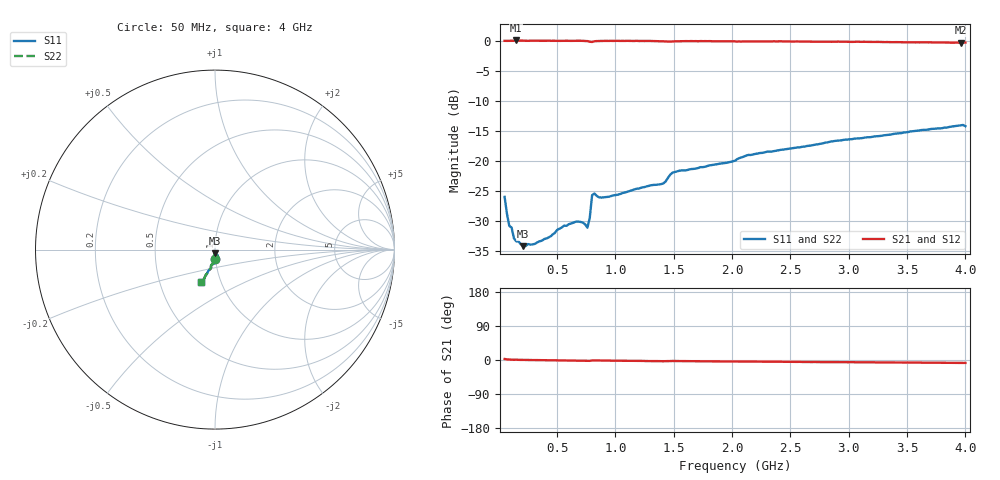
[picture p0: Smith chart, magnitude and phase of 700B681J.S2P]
!  American Technical Ceramics  Date:  3/13/98
!  One Norden Lane
!  Huntington Station,  NY.  11746-2102
!  Tel:  (516) 547-5700  Fax:  (516) 547-5748
!  Part Number  700B681J
!  Description: Porcelain, High Q, Low ESR
!  Application: Bypass, Coupling, Timing, Feedback
!  Tuning, Impedance Match, Blocking
# GHZ S DB R 50
! Freq  |S11|  S11 Ph  |S21|  S21 Ph  |S12|  S12 Ph  |S22|  S22 Ph
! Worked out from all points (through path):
!   201 points, 50 MHz to 4 GHz, reference 50 ohm
!   highest |S21| = 0.05 dB at 150 MHz (marker M1); lowest = -0.3 dB at 3.96 GHz (marker M2)
!   group delay of S21, straight-line fit = 5.63 ps
!   lowest |S11| = -34.1 dB at 210 MHz (marker M3), VSWR 1.04, Z = 49.9 - j1.96 ohm
!   |S11| at or under -10 dB: start of sweep to end of sweep
!   |S22| runs from -34.1 to -14.0 dB; largest |S21 - S12| = 0
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0.05  -25.96 -88.3  -0.01 2.7  -0.01 2.7  -25.96 -88.3
0.09  -30.78 -89.2  -0.01 1.2  -0.01 1.2  -30.78 -89.2
0.11  -31.05 -90.0  0.00 1.0  0.00 1.0  -31.05 -90.0
0.13  -32.86 -92.3  -0.01 0.5  -0.01 0.5  -32.86 -92.3
0.15  -33.35 -93.8  0.05 0.8  0.05 0.8  -33.35 -93.8
0.21  -34.15 -92.4  0.01 0.2  0.01 0.2  -34.15 -92.4
0.41  -32.87 -92.7  0.00 -0.6  0.00 -0.6  -32.87 -92.7
0.56  -30.74 -95.4  0.00 -1.0  0.00 -1.0  -30.74 -95.4
0.72  -30.21 -93.4  -0.02 -1.9  -0.02 -1.9  -30.21 -93.4
0.76  -31.08 -83.4  -0.06 -2.1  -0.06 -2.1  -31.08 -83.4
0.78  -29.43 -64.8  -0.16 -2.2  -0.16 -2.2  -29.43 -64.8
0.8  -25.67 -72.7  -0.20 -1.2  -0.20 -1.2  -25.67 -72.7
0.82  -25.40 -86.5  -0.09 -1.1  -0.09 -1.1  -25.40 -86.5
0.94  -25.94 -97.0  -0.03 -1.6  -0.03 -1.6  -25.94 -97.0
1.37  -23.89 -98.6  -0.06 -3.0  -0.06 -3.0  -23.89 -98.6
1.49  -21.92 -95.9  -0.11 -2.6  -0.11 -2.6  -21.92 -95.9
2.03  -19.91 -102.3  -0.12 -4.0  -0.12 -4.0  -19.91 -102.3
2.14  -18.98 -104.0  -0.11 -4.1  -0.11 -4.1  -18.98 -104.0
2.7  -17.32 -107.9  -0.15 -5.2  -0.15 -5.2  -17.32 -107.9
3.35  -15.62 -110.2  -0.23 -6.6  -0.23 -6.6  -15.62 -110.2
3.96  -14.06 -111.5  -0.33 -7.5  -0.33 -7.5  -14.06 -111.5
4  -14.20 -113.4  -0.29 -7.7  -0.29 -7.7  -14.20 -113.4
